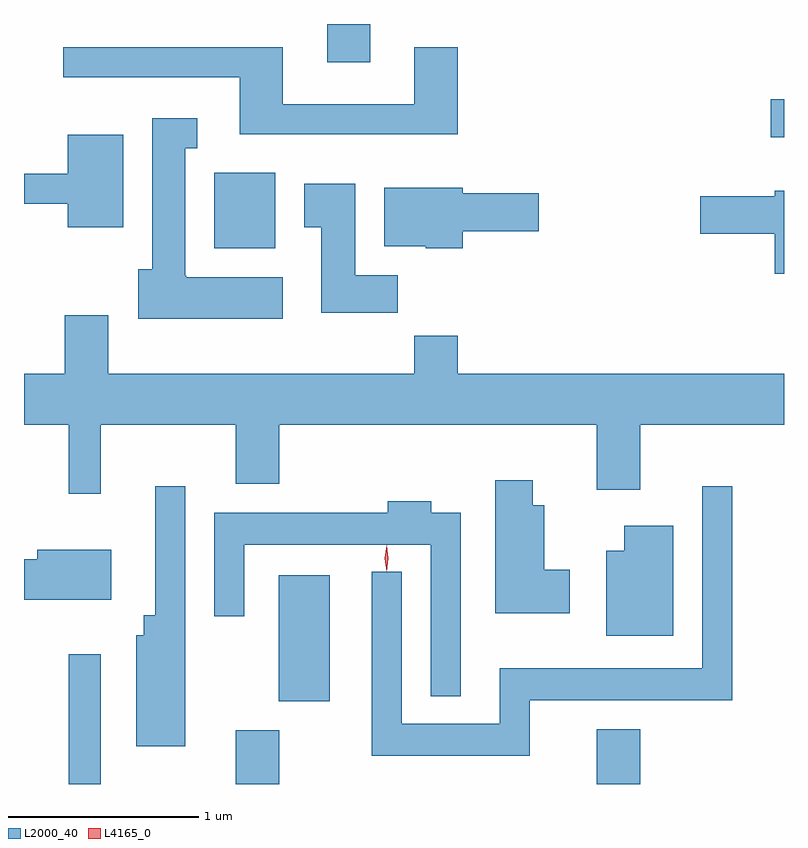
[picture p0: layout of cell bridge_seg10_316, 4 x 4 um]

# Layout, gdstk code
import gdstk
lib = gdstk.Library(unit=1e-6, precision=1e-09)
def R(c, l, rs):  # rectangles x0, y0, x1, y1
    for r in rs: c.add(gdstk.rectangle(r[:2], r[2:], *l))
def P(c, l, *ps):  # polygons
    for p in ps: c.add(gdstk.Polygon(p, *l))
L2000_40 = (2000, 40)
L4165_0 = (4165, 0)

bridge_seg10_316 = lib.new_cell('bridge_seg10_316')
R(bridge_seg10_316, L2000_40, [(1444.041,2149.766,1444.209,2150.448), (1444.921,2149.766,1445.149,2150.049), (1446.821,2149.766,1447.049,2150.054), (1445.146,2150.201,1445.414,2150.864), (1444.806,2152.586,1445.129,2152.984), (1447.736,2153.171,1447.806,2153.369), (1445.401,2153.566,1445.629,2153.766)])
P(bridge_seg10_316, L2000_40, [(1446.089,2153.644),(1445.861,2153.644),(1445.861,2153.344),(1445.169,2153.344),(1445.169,2153.644),(1444.013,2153.644),(1444.013,2153.486),(1444.941,2153.486),(1444.941,2153.186),(1446.089,2153.186)],
  [(1445.169,2152.434),(1444.66,2152.434),(1444.66,2152.44),(1444.654,2152.44),(1444.654,2153.111),(1444.718,2153.111),(1444.718,2153.269),(1444.481,2153.269),(1444.481,2152.474),(1444.406,2152.474),(1444.406,2152.216),(1445.169,2152.216)],
  [(1444.329,2153.184),(1444.036,2153.184),(1444.036,2152.979),(1443.806,2152.979),(1443.806,2152.821),(1444.036,2152.821),(1444.036,2152.696),(1444.329,2152.696)],
  [(1445.774,2152.444),(1445.549,2152.444),(1445.549,2152.924),(1445.281,2152.924),(1445.281,2152.696),(1445.371,2152.696),(1445.371,2152.246),(1445.774,2152.246)],
  [(1446.114,2152.676),(1446.514,2152.676),(1446.514,2152.874),(1446.114,2152.874),(1446.114,2152.904),(1445.701,2152.904),(1445.701,2152.596),(1445.92,2152.596),(1445.92,2152.586),(1446.114,2152.586)],
  [(1447.806,2152.889),(1447.756,2152.889),(1447.756,2152.859),(1447.366,2152.859),(1447.366,2152.661),(1447.756,2152.661),(1447.756,2152.451),(1447.806,2152.451)],
  [(1444.209,2151.656),(1444.921,2151.656),(1444.921,2151.346),(1445.149,2151.346),(1445.149,2151.656),(1446.821,2151.656),(1446.821,2151.316),(1447.049,2151.316),(1447.049,2151.656),(1447.806,2151.656),(1447.806,2151.924),(1446.089,2151.924),(1446.089,2152.124),(1445.861,2152.124),(1445.861,2151.924),(1444.249,2151.924),(1444.249,2152.234),(1444.021,2152.234),(1444.021,2151.924),(1443.806,2151.924),(1443.806,2151.656),(1444.041,2151.656),(1444.041,2151.293),(1444.209,2151.293)],
  [(1446.679,2150.894),(1446.544,2150.894),(1446.544,2151.234),(1446.484,2151.234),(1446.484,2151.364),(1446.286,2151.364),(1446.286,2150.666),(1446.679,2150.666)],
  [(1444.654,2151.333),(1444.496,2151.333),(1444.496,2150.654),(1444.436,2150.654),(1444.436,2150.549),(1444.396,2150.549),(1444.396,2149.966),(1444.654,2149.966)],
  [(1446.469,2150.206),(1447.534,2150.206),(1447.534,2151.333),(1447.376,2151.333),(1447.376,2150.374),(1446.311,2150.374),(1446.311,2150.084),(1445.794,2150.084),(1445.794,2150.883),(1445.636,2150.883),(1445.636,2149.916),(1446.469,2149.916)],
  [(1446.104,2151.194),(1445.949,2151.194),(1445.949,2151.254),(1445.721,2151.254),(1445.721,2151.194),(1444.806,2151.194),(1444.806,2150.648),(1444.964,2150.648),(1444.964,2151.026),(1445.946,2151.026),(1445.946,2150.228),(1446.104,2150.228)],
  [(1447.224,2151.124),(1446.966,2151.124),(1446.966,2150.994),(1446.871,2150.994),(1446.871,2150.546),(1447.224,2150.546)],
  [(1444.264,2150.999),(1443.876,2150.999),(1443.876,2150.949),(1443.806,2150.949),(1443.806,2150.736),(1444.264,2150.736)])
P(bridge_seg10_316, L4165_0, [(1445.714,2150.884),(1445.714,2150.884),(1445.704,2150.954),(1445.714,2151.022),(1445.714,2151.023),(1445.715,2151.022),(1445.724,2150.954),(1445.715,2150.884)])

lib.write_gds('bridge_seg10_316.gds')
